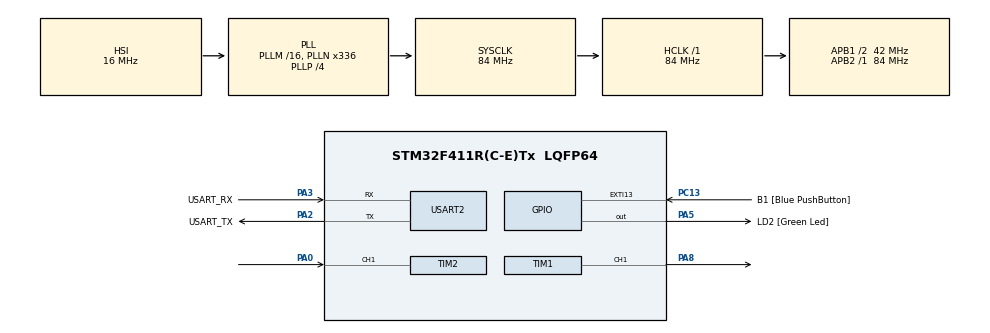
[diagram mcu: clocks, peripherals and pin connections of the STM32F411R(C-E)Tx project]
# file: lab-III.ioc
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Dma.Request0=TIM2_CH1
Dma.TIM2_CH1.0.Direction=DMA_PERIPH_TO_MEMORY
Dma.TIM2_CH1.0.FIFOMode=DMA_FIFOMODE_DISABLE
Dma.TIM2_CH1.0.Instance=DMA1_Stream5
Dma.TIM2_CH1.0.MemDataAlignment=DMA_MDATAALIGN_WORD
Dma.TIM2_CH1.0.MemInc=DMA_MINC_ENABLE
Dma.TIM2_CH1.0.Mode=DMA_CIRCULAR
Dma.TIM2_CH1.0.PeriphDataAlignment=DMA_PDATAALIGN_WORD
Dma.TIM2_CH1.0.PeriphInc=DMA_PINC_DISABLE
Dma.TIM2_CH1.0.Priority=DMA_PRIORITY_LOW
Mcu.Family=STM32F4
Mcu.Name=STM32F411R(C-E)Tx
Mcu.Package=LQFP64
NVIC.DMA1_Stream5_IRQn=true\:0\:0\:false\:false\:true\:false\:true\:true
NVIC.PriorityGroup=NVIC_PRIORITYGROUP_0
PA0-WKUP.Signal=S_TIM2_CH1_ETR
PA13.GPIO_Label=TMS
PA13.Mode=Serial_Wire
PA13.Signal=SYS_JTMS-SWDIO
PA14.GPIO_Label=TCK
PA14.Mode=Serial_Wire
PA14.Signal=SYS_JTCK-SWCLK
PA2.GPIO_Label=USART_TX
PA2.Mode=Asynchronous
PA2.Signal=USART2_TX
PA3.GPIO_Label=USART_RX
PA3.Mode=Asynchronous
PA3.Signal=USART2_RX
PA5.GPIO_Label=LD2 [Green Led]
PA5.Signal=GPIO_Output
PA8.Signal=S_TIM1_CH1
PB3.GPIO_Label=SWO
PB3.Signal=SYS_JTDO-SWO
PC13-ANTI_TAMP.GPIO_Label=B1 [Blue PushButton]
PC13-ANTI_TAMP.GPIO_ModeDefaultEXTI=GPIO_MODE_IT_FALLING
PC13-ANTI_TAMP.Signal=GPXTI13
PC14-OSC32_IN.Mode=LSE-External-Oscillator
PC14-OSC32_IN.Signal=RCC_OSC32_IN
PC15-OSC32_OUT.Mode=LSE-External-Oscillator
PC15-OSC32_OUT.Signal=RCC_OSC32_OUT
PH0\ -\ OSC_IN.Mode=HSE-External-Clock-Source
PH0\ -\ OSC_IN.Signal=RCC_OSC_IN
PH1\ -\ OSC_OUT.Mode=HSE-External-Clock-Source
PH1\ -\ OSC_OUT.Signal=RCC_OSC_OUT
ProjectManager.HeapSize=0x200
ProjectManager.StackSize=0x400
ProjectManager.TargetToolchain=STM32CubeIDE
RCC.48MHZClocksFreq_Value=84000000
RCC.AHBFreq_Value=84000000
RCC.APB1CLKDivider=RCC_HCLK_DIV2
RCC.APB1Freq_Value=42000000
RCC.APB1TimFreq_Value=84000000
RCC.APB2Freq_Value=84000000
RCC.APB2TimFreq_Value=84000000
RCC.CortexFreq_Value=84000000
RCC.FLatency-AdvancedSettings=FLASH_LATENCY_2
RCC.HCLKFreq_Value=84000000
RCC.HSE_VALUE=8000000
RCC.HSI_VALUE=16000000
RCC.PLLN=336
RCC.PLLP=RCC_PLLP_DIV4
RCC.SYSCLKFreq_VALUE=84000000
RCC.SYSCLKSource=RCC_SYSCLKSOURCE_PLLCLK
RCC.VCOOutputFreq_Value=336000000
SH.S_TIM1_CH1.0=TIM1_CH1,PWM Generation1 CH1
SH.S_TIM2_CH1_ETR.0=TIM2_CH1,Input_Capture1_from_TI1
TIM1.Channel-PWM\ Generation1\ CH1=TIM_CHANNEL_1
TIM1.Period=1000
TIM1.Prescaler=83
TIM1.Pulse-PWM\ Generation1\ CH1=50
TIM2.Channel-Input_Capture1_from_TI1=TIM_CHANNEL_1
TIM2.Prescaler=83
USART2.VirtualMode=VM_ASYNC
VP_TIM1_VS_ClockSourceINT.Mode=Internal
VP_TIM2_VS_ClockSourceINT.Mode=Internal
board=NUCLEO-F411RE

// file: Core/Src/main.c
/* USER CODE BEGIN Header */
/**
  ******************************************************************************
  * @file           : main.c
  * @brief          : Main program body
  ******************************************************************************
  * @attention
  *
  * Copyright (c) 2023 STMicroelectronics.
  * All rights reserved.
  *
  * This software is licensed under terms that can be found in the LICENSE file
  * in the root directory of this software component.
  * If no LICENSE file comes with this software, it is provided AS-IS.
  *
  ******************************************************************************
  */
/* USER CODE END Header */
#include "main.h"

/* USER CODE BEGIN Includes */
#define IC_BUFFER_SIZE 20
/* USER CODE END Includes */

TIM_HandleTypeDef htim1;
TIM_HandleTypeDef htim2;
DMA_HandleTypeDef hdma_tim2_ch1;

UART_HandleTypeDef huart2;

/* USER CODE BEGIN PV */
uint32_t InputCaptureBuffer[IC_BUFFER_SIZE];
float averageRisingedgePeriod;
float MotorSetDuty = 50;
float freq;
float MotorReadRPM;
uint32_t MotorControlEnable = 0;
uint32_t MotorSetRPM;
/* USER CODE END PV */

void SystemClock_Config(void);
static void MX_GPIO_Init(void);
static void MX_DMA_Init(void);
static void MX_USART2_UART_Init(void);
static void MX_TIM2_Init(void);
static void MX_TIM1_Init(void);
/* USER CODE BEGIN PFP */
float IC_Calc_Period();
/* USER CODE END PFP */

int main(void)
{

  /* MCU Configuration--------------------------------------------------------*/

  /* Reset of all peripherals, Initializes the Flash interface and the Systick. */
  HAL_Init();

  /* Configure the system clock */
  SystemClock_Config();

  /* Initialize all configured peripherals */
  MX_GPIO_Init();
  MX_DMA_Init();
  MX_USART2_UART_Init();
  MX_TIM2_Init();
  MX_TIM1_Init();
  /* USER CODE BEGIN 2 */

  HAL_TIM_Base_Start(&htim2);
  HAL_TIM_IC_Start_DMA(&htim2, TIM_CHANNEL_1, InputCaptureBuffer, IC_BUFFER_SIZE);

  HAL_TIM_Base_Start(&htim1);
  HAL_TIM_PWM_Start(&htim1, TIM_CHANNEL_1);
  /* USER CODE END 2 */

  /* Infinite loop */
  while (1)
  {

    /* USER CODE BEGIN 3 */

	 static uint32_t timestamp = 0;
	 if (HAL_GetTick() >= timestamp)
	 {
		 timestamp = HAL_GetTick()+500;
		 if(MotorControlEnable == 0)
		 {
			 averageRisingedgePeriod = IC_Calc_Period();

			 __HAL_TIM_SET_COMPARE(&htim1, TIM_CHANNEL_1, MotorSetDuty*10);
		 }
		 if(MotorControlEnable == 1)
		 {
			 averageRisingedgePeriod = IC_Calc_Period();
			 __HAL_TIM_SET_COMPARE(&htim1, TIM_CHANNEL_1, MotorSetDuty*10);

			 if (MotorSetDuty <= 0)
			 {
				 MotorSetDuty = 2;
			 }
			 else if (MotorSetDuty >= 100)
			 {
				 MotorSetDuty = 98;
			 }

			 //motor
			 if (MotorReadRPM > MotorSetRPM)
			 {
				 MotorSetDuty = MotorSetDuty - 2;

			 }

			 else if (MotorReadRPM < MotorSetRPM)
			 {
				 MotorSetDuty = MotorSetDuty + 2;

			 }
		 }

		freq = 1/(averageRisingedgePeriod/1000000*64);
		MotorReadRPM = freq*60/12;
	 }

  }
  /* USER CODE END 3 */
}

void SystemClock_Config(void)
{
  RCC_OscInitTypeDef RCC_OscInitStruct = {0};
  RCC_ClkInitTypeDef RCC_ClkInitStruct = {0};

  /** Configure the main internal regulator output voltage
  */
  __HAL_RCC_PWR_CLK_ENABLE();
  __HAL_PWR_VOLTAGESCALING_CONFIG(PWR_REGULATOR_VOLTAGE_SCALE1);

  /** Initializes the RCC Oscillators according to the specified parameters
  * in the RCC_OscInitTypeDef structure.
  */
  RCC_OscInitStruct.OscillatorType = RCC_OSCILLATORTYPE_HSI;
  RCC_OscInitStruct.HSIState = RCC_HSI_ON;
  RCC_OscInitStruct.HSICalibrationValue = RCC_HSICALIBRATION_DEFAULT;
  RCC_OscInitStruct.PLL.PLLState = RCC_PLL_ON;
  RCC_OscInitStruct.PLL.PLLSource = RCC_PLLSOURCE_HSI;
  RCC_OscInitStruct.PLL.PLLM = 16;
  RCC_OscInitStruct.PLL.PLLN = 336;
  RCC_OscInitStruct.PLL.PLLP = RCC_PLLP_DIV4;
  RCC_OscInitStruct.PLL.PLLQ = 4;
  if (HAL_RCC_OscConfig(&RCC_OscInitStruct) != HAL_OK)
  {
    Error_Handler();
  }

  /** Initializes the CPU, AHB and APB buses clocks
  */
  RCC_ClkInitStruct.ClockType = RCC_CLOCKTYPE_HCLK|RCC_CLOCKTYPE_SYSCLK
                              |RCC_CLOCKTYPE_PCLK1|RCC_CLOCKTYPE_PCLK2;
  RCC_ClkInitStruct.SYSCLKSource = RCC_SYSCLKSOURCE_PLLCLK;
  RCC_ClkInitStruct.AHBCLKDivider = RCC_SYSCLK_DIV1;
  RCC_ClkInitStruct.APB1CLKDivider = RCC_HCLK_DIV2;
  RCC_ClkInitStruct.APB2CLKDivider = RCC_HCLK_DIV1;

  if (HAL_RCC_ClockConfig(&RCC_ClkInitStruct, FLASH_LATENCY_2) != HAL_OK)
  {
    Error_Handler();
  }
}

static void MX_TIM1_Init(void)
{

  TIM_ClockConfigTypeDef sClockSourceConfig = {0};
  TIM_MasterConfigTypeDef sMasterConfig = {0};
  TIM_OC_InitTypeDef sConfigOC = {0};
  TIM_BreakDeadTimeConfigTypeDef sBreakDeadTimeConfig = {0};

  htim1.Instance = TIM1;
  htim1.Init.Prescaler = 83;
  htim1.Init.CounterMode = TIM_COUNTERMODE_UP;
  htim1.Init.Period = 1000;
  htim1.Init.ClockDivision = TIM_CLOCKDIVISION_DIV1;
  htim1.Init.RepetitionCounter = 0;
  htim1.Init.AutoReloadPreload = TIM_AUTORELOAD_PRELOAD_DISABLE;
  if (HAL_TIM_Base_Init(&htim1) != HAL_OK)
  {
    Error_Handler();
  }
  sClockSourceConfig.ClockSource = TIM_CLOCKSOURCE_INTERNAL;
  if (HAL_TIM_ConfigClockSource(&htim1, &sClockSourceConfig) != HAL_OK)
  {
    Error_Handler();
  }
  if (HAL_TIM_PWM_Init(&htim1) != HAL_OK)
  {
    Error_Handler();
  }
  sMasterConfig.MasterOutputTrigger = TIM_TRGO_RESET;
  sMasterConfig.MasterSlaveMode = TIM_MASTERSLAVEMODE_DISABLE;
  if (HAL_TIMEx_MasterConfigSynchronization(&htim1, &sMasterConfig) != HAL_OK)
  {
    Error_Handler();
  }
  sConfigOC.OCMode = TIM_OCMODE_PWM1;
  sConfigOC.Pulse = 50;
  sConfigOC.OCPolarity = TIM_OCPOLARITY_HIGH;
  sConfigOC.OCNPolarity = TIM_OCNPOLARITY_HIGH;
  sConfigOC.OCFastMode = TIM_OCFAST_DISABLE;
  sConfigOC.OCIdleState = TIM_OCIDLESTATE_RESET;
  sConfigOC.OCNIdleState = TIM_OCNIDLESTATE_RESET;
  if (HAL_TIM_PWM_ConfigChannel(&htim1, &sConfigOC, TIM_CHANNEL_1) != HAL_OK)
  {
    Error_Handler();
  }
  sBreakDeadTimeConfig.OffStateRunMode = TIM_OSSR_DISABLE;
  sBreakDeadTimeConfig.OffStateIDLEMode = TIM_OSSI_DISABLE;
  sBreakDeadTimeConfig.LockLevel = TIM_LOCKLEVEL_OFF;
  sBreakDeadTimeConfig.DeadTime = 0;
  sBreakDeadTimeConfig.BreakState = TIM_BREAK_DISABLE;
  sBreakDeadTimeConfig.BreakPolarity = TIM_BREAKPOLARITY_HIGH;
  sBreakDeadTimeConfig.AutomaticOutput = TIM_AUTOMATICOUTPUT_DISABLE;
  if (HAL_TIMEx_ConfigBreakDeadTime(&htim1, &sBreakDeadTimeConfig) != HAL_OK)
  {
    Error_Handler();
  }
  HAL_TIM_MspPostInit(&htim1);

}

static void MX_TIM2_Init(void)
{

  TIM_ClockConfigTypeDef sClockSourceConfig = {0};
  TIM_MasterConfigTypeDef sMasterConfig = {0};
  TIM_IC_InitTypeDef sConfigIC = {0};

  htim2.Instance = TIM2;
  htim2.Init.Prescaler = 83;
  htim2.Init.CounterMode = TIM_COUNTERMODE_UP;
  htim2.Init.Period = 4294967295;
  htim2.Init.ClockDivision = TIM_CLOCKDIVISION_DIV1;
  htim2.Init.AutoReloadPreload = TIM_AUTORELOAD_PRELOAD_DISABLE;
  if (HAL_TIM_Base_Init(&htim2) != HAL_OK)
  {
    Error_Handler();
  }
  sClockSourceConfig.ClockSource = TIM_CLOCKSOURCE_INTERNAL;
  if (HAL_TIM_ConfigClockSource(&htim2, &sClockSourceConfig) != HAL_OK)
  {
    Error_Handler();
  }
  if (HAL_TIM_IC_Init(&htim2) != HAL_OK)
  {
    Error_Handler();
  }
  sMasterConfig.MasterOutputTrigger = TIM_TRGO_RESET;
  sMasterConfig.MasterSlaveMode = TIM_MASTERSLAVEMODE_DISABLE;
  if (HAL_TIMEx_MasterConfigSynchronization(&htim2, &sMasterConfig) != HAL_OK)
  {
    Error_Handler();
  }
  sConfigIC.ICPolarity = TIM_INPUTCHANNELPOLARITY_RISING;
  sConfigIC.ICSelection = TIM_ICSELECTION_DIRECTTI;
  sConfigIC.ICPrescaler = TIM_ICPSC_DIV1;
  sConfigIC.ICFilter = 0;
  if (HAL_TIM_IC_ConfigChannel(&htim2, &sConfigIC, TIM_CHANNEL_1) != HAL_OK)
  {
    Error_Handler();
  }

}

static void MX_USART2_UART_Init(void)
{

  huart2.Instance = USART2;
  huart2.Init.BaudRate = 115200;
  huart2.Init.WordLength = UART_WORDLENGTH_8B;
  huart2.Init.StopBits = UART_STOPBITS_1;
  huart2.Init.Parity = UART_PARITY_NONE;
  huart2.Init.Mode = UART_MODE_TX_RX;
  huart2.Init.HwFlowCtl = UART_HWCONTROL_NONE;
  huart2.Init.OverSampling = UART_OVERSAMPLING_16;
  if (HAL_UART_Init(&huart2) != HAL_OK)
  {
    Error_Handler();
  }

}

static void MX_DMA_Init(void)
{

  /* DMA controller clock enable */
  __HAL_RCC_DMA1_CLK_ENABLE();

  /* DMA interrupt init */
  /* DMA1_Stream5_IRQn interrupt configuration */
  HAL_NVIC_SetPriority(DMA1_Stream5_IRQn, 0, 0);
  HAL_NVIC_EnableIRQ(DMA1_Stream5_IRQn);

}

static void MX_GPIO_Init(void)
{
  GPIO_InitTypeDef GPIO_InitStruct = {0};

  /* GPIO Ports Clock Enable */
  __HAL_RCC_GPIOC_CLK_ENABLE();
  __HAL_RCC_GPIOH_CLK_ENABLE();
  __HAL_RCC_GPIOA_CLK_ENABLE();
  __HAL_RCC_GPIOB_CLK_ENABLE();

  /*Configure GPIO pin Output Level */
  HAL_GPIO_WritePin(LD2_GPIO_Port, LD2_Pin, GPIO_PIN_RESET);

  /*Configure GPIO pin : B1_Pin */
  GPIO_InitStruct.Pin = B1_Pin;
  GPIO_InitStruct.Mode = GPIO_MODE_IT_FALLING;
  GPIO_InitStruct.Pull = GPIO_NOPULL;
  HAL_GPIO_Init(B1_GPIO_Port, &GPIO_InitStruct);

  /*Configure GPIO pin : LD2_Pin */
  GPIO_InitStruct.Pin = LD2_Pin;
  GPIO_InitStruct.Mode = GPIO_MODE_OUTPUT_PP;
  GPIO_InitStruct.Pull = GPIO_NOPULL;
  GPIO_InitStruct.Speed = GPIO_SPEED_FREQ_LOW;
  HAL_GPIO_Init(LD2_GPIO_Port, &GPIO_InitStruct);

}

/* USER CODE BEGIN 4 */
float IC_Calc_Period()
{
	uint32_t currentDMAPointer = IC_BUFFER_SIZE - __HAL_DMA_GET_COUNTER((htim2.hdma[1]));
	uint32_t lastValidDMAPointer = (currentDMAPointer - 1 + IC_BUFFER_SIZE - 5) % IC_BUFFER_SIZE;

	uint32_t i = (lastValidDMAPointer + IC_BUFFER_SIZE - 5) % IC_BUFFER_SIZE;

	int32_t sumdiff = 0;
	while (i != lastValidDMAPointer)
		{
			uint32_t firstCapture = InputCaptureBuffer[i];

			uint32_t NextCapture = InputCaptureBuffer[(i+1)%IC_BUFFER_SIZE];

			sumdiff += NextCapture - firstCapture;
			i = (i+1) % IC_BUFFER_SIZE;
		}
	return sumdiff / 5.0;

}
/* USER CODE END 4 */

void Error_Handler(void)
{
  __disable_irq();
  while (1)
  {
  }
}
